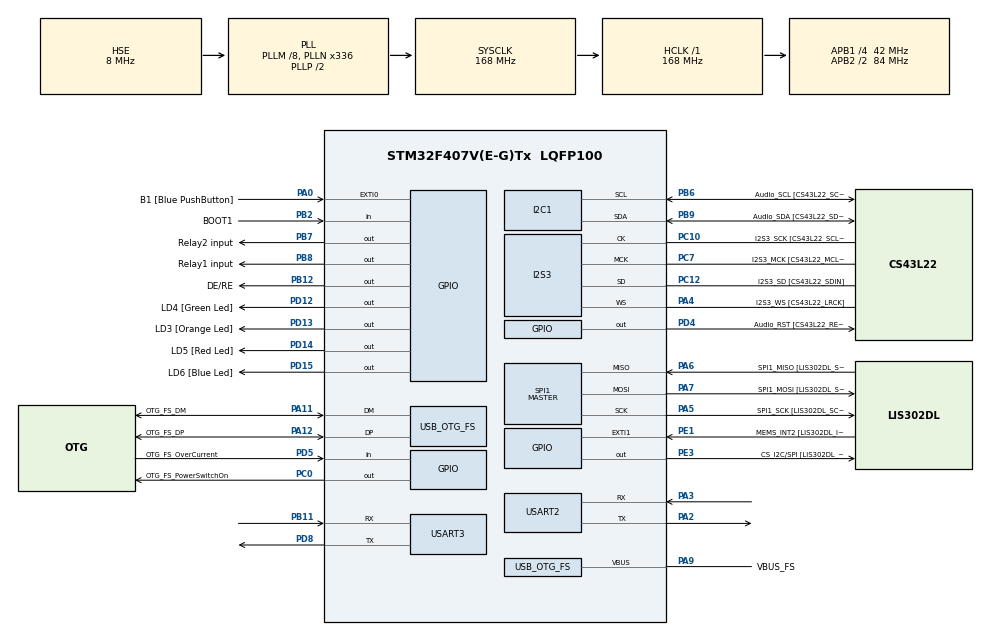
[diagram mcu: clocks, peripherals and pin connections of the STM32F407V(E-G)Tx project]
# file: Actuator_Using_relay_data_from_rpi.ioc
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I2S3.AudioFreq-Half_Duplex_Master=I2S_AUDIOFREQ_96K
I2S3.ErrorAudioFreq=-2.34 %
I2S3.ErrorAudioFreq-Half_Duplex_Master=0.8 %
I2S3.FullDuplexMode=I2S_FULLDUPLEXMODE_DISABLE
I2S3.Instance=SPI$Index
I2S3.RealAudioFreq=93.75 KHz
I2S3.RealAudioFreq-Half_Duplex_Master=96.774 KHz
I2S3.VirtualMode=I2S_MODE_MASTER
Mcu.Family=STM32F4
Mcu.Name=STM32F407V(E-G)Tx
Mcu.Package=LQFP100
NVIC.OTG_FS_IRQn=true\:0\:0\:false\:false\:true\:true\:true\:true
NVIC.PriorityGroup=NVIC_PRIORITYGROUP_0
PA0-WKUP.GPIO_Label=B1 [Blue PushButton]
PA0-WKUP.GPIO_ModeDefaultEXTI=GPIO_MODE_EVT_RISING
PA0-WKUP.GPIO_PuPd=GPIO_NOPULL
PA0-WKUP.Signal=GPXTI0
PA10.GPIO_Label=OTG_FS_ID
PA10.GPIO_Mode=GPIO_MODE_AF_PP
PA10.GPIO_PuPd=GPIO_NOPULL
PA10.GPIO_Speed=GPIO_SPEED_FREQ_LOW
PA10.Signal=USB_OTG_FS_ID
PA11.GPIO_Label=OTG_FS_DM
PA11.GPIO_Mode=GPIO_MODE_AF_PP
PA11.GPIO_PuPd=GPIO_NOPULL
PA11.GPIO_Speed=GPIO_SPEED_FREQ_LOW
PA11.Mode=Host_Only
PA11.Signal=USB_OTG_FS_DM
PA12.GPIO_Label=OTG_FS_DP
PA12.GPIO_Mode=GPIO_MODE_AF_PP
PA12.GPIO_PuPd=GPIO_NOPULL
PA12.GPIO_Speed=GPIO_SPEED_FREQ_LOW
PA12.Mode=Host_Only
PA12.Signal=USB_OTG_FS_DP
PA13.GPIO_Label=SWDIO
PA13.Mode=Serial_Wire
PA13.Signal=SYS_JTMS-SWDIO
PA14.GPIO_Label=SWCLK
PA14.Mode=Serial_Wire
PA14.Signal=SYS_JTCK-SWCLK
PA2.Mode=Asynchronous
PA2.Signal=USART2_TX
PA3.Mode=Asynchronous
PA3.Signal=USART2_RX
PA4.GPIO_Label=I2S3_WS [CS43L22_LRCK]
PA4.GPIO_Mode=GPIO_MODE_AF_PP
PA4.GPIO_PuPd=GPIO_NOPULL
PA4.GPIO_Speed=GPIO_SPEED_FREQ_LOW
PA4.Mode=Half_Duplex_Master
PA4.Signal=I2S3_WS
PA5.GPIO_Label=SPI1_SCK [LIS302DL_SCL/SPC]
PA5.GPIO_Mode=GPIO_MODE_AF_PP
PA5.GPIO_PuPd=GPIO_NOPULL
PA5.GPIO_Speed=GPIO_SPEED_FREQ_LOW
PA5.Mode=Full_Duplex_Master
PA5.Signal=SPI1_SCK
PA6.GPIO_Label=SPI1_MISO [LIS302DL_SDO]
PA6.GPIO_Mode=GPIO_MODE_AF_PP
PA6.GPIO_PuPd=GPIO_NOPULL
PA6.GPIO_Speed=GPIO_SPEED_FREQ_LOW
PA6.Mode=Full_Duplex_Master
PA6.Signal=SPI1_MISO
PA7.GPIO_Label=SPI1_MOSI [LIS302DL_SDA/SDI/SDO]
PA7.GPIO_Mode=GPIO_MODE_AF_PP
PA7.GPIO_PuPd=GPIO_NOPULL
PA7.GPIO_Speed=GPIO_SPEED_FREQ_LOW
PA7.Mode=Full_Duplex_Master
PA7.Signal=SPI1_MOSI
PA9.GPIO_Label=VBUS_FS
PA9.GPIO_Mode=GPIO_MODE_INPUT
PA9.GPIO_PuPd=GPIO_NOPULL
PA9.Mode=Activate_VBUS
PA9.Signal=USB_OTG_FS_VBUS
PB10.GPIO_Label=CLK_IN [MP45DT02_CLK]
PB10.GPIO_Mode=GPIO_MODE_AF_PP
PB10.GPIO_PuPd=GPIO_NOPULL
PB10.GPIO_Speed=GPIO_SPEED_FREQ_LOW
PB10.Signal=I2S2_CK
PB11.Mode=Asynchronous
PB11.Signal=USART3_RX
PB12.GPIO_Label=DE/RE
PB12.Signal=GPIO_Output
PB2.GPIO_Label=BOOT1
PB2.GPIO_Mode=GPIO_MODE_INPUT
PB2.GPIO_PuPd=GPIO_NOPULL
PB2.Signal=GPIO_Input
PB3.GPIO_Label=SWO
PB3.Signal=SYS_JTDO-SWO
PB6.GPIO_Label=Audio_SCL [CS43L22_SCL]
PB6.GPIO_Mode=GPIO_MODE_AF_OD
PB6.GPIO_Pu=GPIO_PULLUP
PB6.GPIO_PuPd=GPIO_NOPULL
PB6.GPIO_Speed=GPIO_SPEED_FREQ_LOW
PB6.Mode=I2C
PB6.Signal=I2C1_SCL
PB7.GPIO_Label=Relay2 input
PB7.Signal=GPIO_Output
PB8.GPIO_Label=Relay1 input
PB8.Signal=GPIO_Output
PB9.GPIO_Label=Audio_SDA [CS43L22_SDA]
PB9.GPIO_Mode=GPIO_MODE_AF_OD
PB9.GPIO_Pu=GPIO_PULLUP
PB9.GPIO_PuPd=GPIO_NOPULL
PB9.GPIO_Speed=GPIO_SPEED_FREQ_LOW
PB9.Mode=I2C
PB9.Signal=I2C1_SDA
PC0.GPIO_Label=OTG_FS_PowerSwitchOn
PC0.GPIO_PuPd=GPIO_NOPULL
PC0.GPIO_Speed=GPIO_SPEED_FREQ_LOW
PC0.PinState=GPIO_PIN_SET
PC0.Signal=GPIO_Output
PC10.GPIO_Label=I2S3_SCK [CS43L22_SCLK]
PC10.GPIO_Mode=GPIO_MODE_AF_PP
PC10.GPIO_PuPd=GPIO_NOPULL
PC10.GPIO_Speed=GPIO_SPEED_FREQ_LOW
PC10.Mode=Half_Duplex_Master
PC10.Signal=I2S3_CK
PC12.GPIO_Label=I2S3_SD [CS43L22_SDIN]
PC12.GPIO_Mode=GPIO_MODE_AF_PP
PC12.GPIO_PuPd=GPIO_NOPULL
PC12.GPIO_Speed=GPIO_SPEED_FREQ_LOW
PC12.Mode=Half_Duplex_Master
PC12.Signal=I2S3_SD
PC14-OSC32_IN.GPIO_Label=PC14-OSC32_IN
PC14-OSC32_IN.Mode=LSE-External-Oscillator
PC14-OSC32_IN.Signal=RCC_OSC32_IN
PC15-OSC32_OUT.GPIO_Label=PC15-OSC32_OUT
PC15-OSC32_OUT.Mode=LSE-External-Oscillator
PC15-OSC32_OUT.Signal=RCC_OSC32_OUT
PC3.GPIO_Label=PDM_OUT [MP45DT02_DOUT]
PC3.GPIO_Mode=GPIO_MODE_AF_PP
PC3.GPIO_PuPd=GPIO_NOPULL
PC3.GPIO_Speed=GPIO_SPEED_FREQ_LOW
PC3.Signal=I2S2_SD
PC7.GPIO_Label=I2S3_MCK [CS43L22_MCLK]
PC7.GPIO_Mode=GPIO_MODE_AF_PP
PC7.GPIO_PuPd=GPIO_NOPULL
PC7.GPIO_Speed=GPIO_SPEED_FREQ_LOW
PC7.Mode=Master_Clock_Activated
PC7.Signal=I2S3_MCK
PD12.GPIO_Label=LD4 [Green Led]
PD12.GPIO_PuPd=GPIO_NOPULL
PD12.GPIO_Speed=GPIO_SPEED_FREQ_LOW
PD12.Signal=GPIO_Output
PD13.GPIO_Label=LD3 [Orange Led]
PD13.GPIO_PuPd=GPIO_NOPULL
PD13.GPIO_Speed=GPIO_SPEED_FREQ_LOW
PD13.Signal=GPIO_Output
PD14.GPIO_Label=LD5 [Red Led]
PD14.GPIO_PuPd=GPIO_NOPULL
PD14.GPIO_Speed=GPIO_SPEED_FREQ_LOW
PD14.Signal=GPIO_Output
PD15.GPIO_Label=LD6 [Blue Led]
PD15.GPIO_PuPd=GPIO_NOPULL
PD15.GPIO_Speed=GPIO_SPEED_FREQ_LOW
PD15.Signal=GPIO_Output
PD4.GPIO_Label=Audio_RST [CS43L22_RESET]
PD4.GPIO_PuPd=GPIO_NOPULL
PD4.GPIO_Speed=GPIO_SPEED_FREQ_LOW
PD4.Signal=GPIO_Output
PD5.GPIO_Label=OTG_FS_OverCurrent
PD5.GPIO_Mode=GPIO_MODE_INPUT
PD5.GPIO_PuPd=GPIO_NOPULL
PD5.Signal=GPIO_Input
PD8.Mode=Asynchronous
PD8.Signal=USART3_TX
PE1.GPIO_Label=MEMS_INT2 [LIS302DL_INT2]
PE1.GPIO_ModeDefaultEXTI=GPIO_MODE_EVT_RISING
PE1.GPIO_PuPd=GPIO_NOPULL
PE1.Signal=GPXTI1
PE3.GPIO_Label=CS_I2C/SPI [LIS302DL_CS_I2C/SPI]
PE3.GPIO_PuPd=GPIO_NOPULL
PE3.GPIO_Speed=GPIO_SPEED_FREQ_LOW
PE3.Signal=GPIO_Output
PH0-OSC_IN.GPIO_Label=PH0-OSC_IN
PH0-OSC_IN.Mode=HSE-External-Oscillator
PH0-OSC_IN.Signal=RCC_OSC_IN
PH1-OSC_OUT.GPIO_Label=PH1-OSC_OUT
PH1-OSC_OUT.Mode=HSE-External-Oscillator
PH1-OSC_OUT.Signal=RCC_OSC_OUT
ProjectManager.HeapSize=0x200
ProjectManager.StackSize=0x400
ProjectManager.TargetToolchain=STM32CubeIDE
RCC.48MHZClocksFreq_Value=48000000
RCC.AHBFreq_Value=168000000
RCC.APB1CLKDivider=RCC_HCLK_DIV4
RCC.APB1Freq_Value=42000000
RCC.APB1TimFreq_Value=84000000
RCC.APB2CLKDivider=RCC_HCLK_DIV2
RCC.APB2Freq_Value=84000000
RCC.APB2TimFreq_Value=168000000
RCC.CortexFreq_Value=168000000
RCC.HCLKFreq_Value=168000000
RCC.HSE_VALUE=8000000
RCC.HSI_VALUE=16000000
RCC.PLLM=8
RCC.PLLN=336
RCC.PLLQ=7
RCC.SYSCLKFreq_VALUE=168000000
RCC.SYSCLKSource=RCC_SYSCLKSOURCE_PLLCLK
RCC.VCOOutputFreq_Value=336000000
SPI1.BaudRatePrescaler-Full_Duplex_Master=SPI_BAUDRATEPRESCALER_2
SPI1.CalculateBaudRate-Full_Duplex_Master=42.0 MBits/s
SPI1.Direction=SPI_DIRECTION_2LINES
SPI1.Mode=SPI_MODE_MASTER
SPI1.Mode-Full_Duplex_Master=SPI_MODE_MASTER
SPI1.VirtualType=VM_MASTER
USART2.VirtualMode=VM_ASYNC
USART3.VirtualMode=VM_ASYNC
USB_HOST.BSP.number=1
USB_HOST.USBH_HandleTypeDef-CDC_FS=hUsbHostFS
USB_HOST.VirtualModeFS=Cdc
USB_HOST0.BSP.STBoard=false
USB_HOST0.BSP.api=Unknown
USB_HOST0.BSP.instance=PC0
USB_HOST0.BSP.ip=GPIO
USB_HOST0.BSP.mode=Output
USB_HOST0.BSP.name=Drive_VBUS_FS
USB_HOST0.BSP.solution=PC0
USB_OTG_FS.VirtualMode=Host_Only
USB_OTG_FS.phy_itface=HCD_PHY_EMBEDDED
VP_USB_HOST_VS_USB_HOST_CDC_FS.Mode=CDC_FS
board=STM32F407G-DISC1

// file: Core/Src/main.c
/* USER CODE BEGIN Header */

/**

  ******************************************************************************

  * @file           : main.c

  * @brief          : Main program body

  ******************************************************************************

  * @attention

  *

  * Copyright (c) 2026 STMicroelectronics.

  * All rights reserved.

  *

  * This software is licensed under terms that can be found in the LICENSE file

  * in the root directory of this software component.

  * If no LICENSE file comes with this software, it is provided AS-IS.

  *

  ******************************************************************************

  */

/* USER CODE END Header */
#include "main.h"
#include "usb_host.h"

/* USER CODE BEGIN Includes */
#include<stdio.h>
#include<string.h>
#include<stdlib.h>
/* USER CODE END Includes */

/* USER CODE BEGIN PD */

#define RELAY_ON  GPIO_PIN_RESET   // Active LOW relay
#define RELAY_OFF GPIO_PIN_SET
/* USER CODE END PD */

I2C_HandleTypeDef hi2c1;

I2S_HandleTypeDef hi2s3;

SPI_HandleTypeDef hspi1;

UART_HandleTypeDef huart2;
UART_HandleTypeDef huart3;
char log_buf[50];

/* USER CODE BEGIN PV */
uint8_t rx_buffer[2];
uint8_t temp;
uint8_t triggered = 0;

/* USER CODE END PV */

void SystemClock_Config(void);
static void MX_GPIO_Init(void);
static void MX_I2C1_Init(void);
static void MX_I2S3_Init(void);
static void MX_SPI1_Init(void);
static void MX_USART2_UART_Init(void);
static void MX_USART3_UART_Init(void);
void MX_USB_HOST_Process(void);

int main(void)
{

  /* MCU Configuration--------------------------------------------------------*/

  /* Reset of all peripherals, Initializes the Flash interface and the Systick. */
  HAL_Init();

  /* Configure the system clock */
  SystemClock_Config();

  /* Initialize all configured peripherals */
  MX_GPIO_Init();
  MX_I2C1_Init();
  MX_I2S3_Init();
  MX_SPI1_Init();
  MX_USB_HOST_Init();
  MX_USART2_UART_Init();
  MX_USART3_UART_Init();
  /* USER CODE BEGIN 2 */

  sprintf(log_buf, "System Started\r\n");
  HAL_UART_Transmit(&huart2, (uint8_t*)log_buf, strlen(log_buf), 100);
  HAL_GPIO_WritePin(GPIOB, DE_RE_Pin, GPIO_PIN_RESET);

  // Initial state → CLOSED

  HAL_GPIO_WritePin(GPIOB, Relay1_input_Pin, RELAY_OFF);
  HAL_GPIO_WritePin(GPIOB, Relay2_input_Pin, RELAY_ON);

  /* USER CODE END 2 */

  /* Infinite loop */
  while (1)
  {
    MX_USB_HOST_Process();

    /* USER CODE BEGIN 3 */
    if (HAL_UART_Receive(&huart3, rx_buffer, 2, 1000) == HAL_OK)
    {
        // Check packet header
        if (rx_buffer[0] == 0xAA)
        {
            temp = rx_buffer[1];

            sprintf(log_buf, "Received Temp: %d\r\n", temp);
            HAL_UART_Transmit(&huart2,
                              (uint8_t*)log_buf,
                              strlen(log_buf),
                              100);

            // ---------- ACTUATOR CONTROL ----------
            if (temp > 30)
            {
                // OPEN actuator
                HAL_GPIO_WritePin(GPIOB,
                                  Relay1_input_Pin,
                                  RELAY_ON);

                HAL_GPIO_WritePin(GPIOB,
                                  Relay2_input_Pin,
                                  RELAY_OFF);

                sprintf(log_buf, "ACTUATOR OPEN\r\n");
            }
            else
            {
                // CLOSE actuator
                HAL_GPIO_WritePin(GPIOB,
                                  Relay1_input_Pin,
                                  RELAY_OFF);

                HAL_GPIO_WritePin(GPIOB,
                                  Relay2_input_Pin,
                                  RELAY_ON);

                sprintf(log_buf, "ACTUATOR CLOSE\r\n");
            }

            HAL_UART_Transmit(&huart2,
                              (uint8_t*)log_buf,
                              strlen(log_buf),
                              100);
        }
        else
        {
            sprintf(log_buf, "Invalid Header\r\n");
            HAL_UART_Transmit(&huart2,
                              (uint8_t*)log_buf,
                              strlen(log_buf),
                              100);
        }
    }
    else
    {
        sprintf(log_buf, "No UART Data\r\n");
        HAL_UART_Transmit(&huart2,
                          (uint8_t*)log_buf,
                          strlen(log_buf),
                          100);
    }

    //HAL_Delay(5000);
  }

  /* USER CODE END 3 */
}

void SystemClock_Config(void)
{
  RCC_OscInitTypeDef RCC_OscInitStruct = {0};
  RCC_ClkInitTypeDef RCC_ClkInitStruct = {0};

  /** Configure the main internal regulator output voltage
  */
  __HAL_RCC_PWR_CLK_ENABLE();
  __HAL_PWR_VOLTAGESCALING_CONFIG(PWR_REGULATOR_VOLTAGE_SCALE1);

  /** Initializes the RCC Oscillators according to the specified parameters
  * in the RCC_OscInitTypeDef structure.
  */
  RCC_OscInitStruct.OscillatorType = RCC_OSCILLATORTYPE_HSE;
  RCC_OscInitStruct.HSEState = RCC_HSE_ON;
  RCC_OscInitStruct.PLL.PLLState = RCC_PLL_ON;
  RCC_OscInitStruct.PLL.PLLSource = RCC_PLLSOURCE_HSE;
  RCC_OscInitStruct.PLL.PLLM = 8;
  RCC_OscInitStruct.PLL.PLLN = 336;
  RCC_OscInitStruct.PLL.PLLP = RCC_PLLP_DIV2;
  RCC_OscInitStruct.PLL.PLLQ = 7;
  if (HAL_RCC_OscConfig(&RCC_OscInitStruct) != HAL_OK)
  {
    Error_Handler();
  }

  /** Initializes the CPU, AHB and APB buses clocks
  */
  RCC_ClkInitStruct.ClockType = RCC_CLOCKTYPE_HCLK|RCC_CLOCKTYPE_SYSCLK
                              |RCC_CLOCKTYPE_PCLK1|RCC_CLOCKTYPE_PCLK2;
  RCC_ClkInitStruct.SYSCLKSource = RCC_SYSCLKSOURCE_PLLCLK;
  RCC_ClkInitStruct.AHBCLKDivider = RCC_SYSCLK_DIV1;
  RCC_ClkInitStruct.APB1CLKDivider = RCC_HCLK_DIV4;
  RCC_ClkInitStruct.APB2CLKDivider = RCC_HCLK_DIV2;

  if (HAL_RCC_ClockConfig(&RCC_ClkInitStruct, FLASH_LATENCY_5) != HAL_OK)
  {
    Error_Handler();
  }
}

static void MX_I2C1_Init(void)
{

  hi2c1.Instance = I2C1;
  hi2c1.Init.ClockSpeed = 100000;
  hi2c1.Init.DutyCycle = I2C_DUTYCYCLE_2;
  hi2c1.Init.OwnAddress1 = 0;
  hi2c1.Init.AddressingMode = I2C_ADDRESSINGMODE_7BIT;
  hi2c1.Init.DualAddressMode = I2C_DUALADDRESS_DISABLE;
  hi2c1.Init.OwnAddress2 = 0;
  hi2c1.Init.GeneralCallMode = I2C_GENERALCALL_DISABLE;
  hi2c1.Init.NoStretchMode = I2C_NOSTRETCH_DISABLE;
  if (HAL_I2C_Init(&hi2c1) != HAL_OK)
  {
    Error_Handler();
  }

}

static void MX_I2S3_Init(void)
{

  hi2s3.Instance = SPI3;
  hi2s3.Init.Mode = I2S_MODE_MASTER_TX;
  hi2s3.Init.Standard = I2S_STANDARD_PHILIPS;
  hi2s3.Init.DataFormat = I2S_DATAFORMAT_16B;
  hi2s3.Init.MCLKOutput = I2S_MCLKOUTPUT_ENABLE;
  hi2s3.Init.AudioFreq = I2S_AUDIOFREQ_96K;
  hi2s3.Init.CPOL = I2S_CPOL_LOW;
  hi2s3.Init.ClockSource = I2S_CLOCK_PLL;
  hi2s3.Init.FullDuplexMode = I2S_FULLDUPLEXMODE_DISABLE;
  if (HAL_I2S_Init(&hi2s3) != HAL_OK)
  {
    Error_Handler();
  }

}

static void MX_SPI1_Init(void)
{

  /* SPI1 parameter configuration*/
  hspi1.Instance = SPI1;
  hspi1.Init.Mode = SPI_MODE_MASTER;
  hspi1.Init.Direction = SPI_DIRECTION_2LINES;
  hspi1.Init.DataSize = SPI_DATASIZE_8BIT;
  hspi1.Init.CLKPolarity = SPI_POLARITY_LOW;
  hspi1.Init.CLKPhase = SPI_PHASE_1EDGE;
  hspi1.Init.NSS = SPI_NSS_SOFT;
  hspi1.Init.BaudRatePrescaler = SPI_BAUDRATEPRESCALER_2;
  hspi1.Init.FirstBit = SPI_FIRSTBIT_MSB;
  hspi1.Init.TIMode = SPI_TIMODE_DISABLE;
  hspi1.Init.CRCCalculation = SPI_CRCCALCULATION_DISABLE;
  hspi1.Init.CRCPolynomial = 10;
  if (HAL_SPI_Init(&hspi1) != HAL_OK)
  {
    Error_Handler();
  }

}

static void MX_USART2_UART_Init(void)
{

  huart2.Instance = USART2;
  huart2.Init.BaudRate = 115200;
  huart2.Init.WordLength = UART_WORDLENGTH_8B;
  huart2.Init.StopBits = UART_STOPBITS_1;
  huart2.Init.Parity = UART_PARITY_NONE;
  huart2.Init.Mode = UART_MODE_TX_RX;
  huart2.Init.HwFlowCtl = UART_HWCONTROL_NONE;
  huart2.Init.OverSampling = UART_OVERSAMPLING_16;
  if (HAL_UART_Init(&huart2) != HAL_OK)
  {
    Error_Handler();
  }

}

static void MX_USART3_UART_Init(void)
{

  huart3.Instance = USART3;
  huart3.Init.BaudRate = 115200;
  huart3.Init.WordLength = UART_WORDLENGTH_8B;
  huart3.Init.StopBits = UART_STOPBITS_1;
  huart3.Init.Parity = UART_PARITY_NONE;
  huart3.Init.Mode = UART_MODE_TX_RX;
  huart3.Init.HwFlowCtl = UART_HWCONTROL_NONE;
  huart3.Init.OverSampling = UART_OVERSAMPLING_16;
  if (HAL_UART_Init(&huart3) != HAL_OK)
  {
    Error_Handler();
  }

}

static void MX_GPIO_Init(void)
{
  GPIO_InitTypeDef GPIO_InitStruct = {0};

  /* GPIO Ports Clock Enable */
  __HAL_RCC_GPIOE_CLK_ENABLE();
  __HAL_RCC_GPIOC_CLK_ENABLE();
  __HAL_RCC_GPIOH_CLK_ENABLE();
  __HAL_RCC_GPIOA_CLK_ENABLE();
  __HAL_RCC_GPIOB_CLK_ENABLE();
  __HAL_RCC_GPIOD_CLK_ENABLE();

  /*Configure GPIO pin Output Level */
  HAL_GPIO_WritePin(CS_I2C_SPI_GPIO_Port, CS_I2C_SPI_Pin, GPIO_PIN_RESET);

  /*Configure GPIO pin Output Level */
  HAL_GPIO_WritePin(OTG_FS_PowerSwitchOn_GPIO_Port, OTG_FS_PowerSwitchOn_Pin, GPIO_PIN_SET);

  /*Configure GPIO pin Output Level */
  HAL_GPIO_WritePin(GPIOB, DE_RE_Pin|Relay2_input_Pin|Relay1_input_Pin, GPIO_PIN_RESET);

  /*Configure GPIO pin Output Level */
  HAL_GPIO_WritePin(GPIOD, LD4_Pin|LD3_Pin|LD5_Pin|LD6_Pin
                          |Audio_RST_Pin, GPIO_PIN_RESET);

  /*Configure GPIO pin : CS_I2C_SPI_Pin */
  GPIO_InitStruct.Pin = CS_I2C_SPI_Pin;
  GPIO_InitStruct.Mode = GPIO_MODE_OUTPUT_PP;
  GPIO_InitStruct.Pull = GPIO_NOPULL;
  GPIO_InitStruct.Speed = GPIO_SPEED_FREQ_LOW;
  HAL_GPIO_Init(CS_I2C_SPI_GPIO_Port, &GPIO_InitStruct);

  /*Configure GPIO pin : OTG_FS_PowerSwitchOn_Pin */
  GPIO_InitStruct.Pin = OTG_FS_PowerSwitchOn_Pin;
  GPIO_InitStruct.Mode = GPIO_MODE_OUTPUT_PP;
  GPIO_InitStruct.Pull = GPIO_NOPULL;
  GPIO_InitStruct.Speed = GPIO_SPEED_FREQ_LOW;
  HAL_GPIO_Init(OTG_FS_PowerSwitchOn_GPIO_Port, &GPIO_InitStruct);

  /*Configure GPIO pin : PDM_OUT_Pin */
  GPIO_InitStruct.Pin = PDM_OUT_Pin;
  GPIO_InitStruct.Mode = GPIO_MODE_AF_PP;
  GPIO_InitStruct.Pull = GPIO_NOPULL;
  GPIO_InitStruct.Speed = GPIO_SPEED_FREQ_LOW;
  GPIO_InitStruct.Alternate = GPIO_AF5_SPI2;
  HAL_GPIO_Init(PDM_OUT_GPIO_Port, &GPIO_InitStruct);

  /*Configure GPIO pin : B1_Pin */
  GPIO_InitStruct.Pin = B1_Pin;
  GPIO_InitStruct.Mode = GPIO_MODE_EVT_RISING;
  GPIO_InitStruct.Pull = GPIO_NOPULL;
  HAL_GPIO_Init(B1_GPIO_Port, &GPIO_InitStruct);

  /*Configure GPIO pin : BOOT1_Pin */
  GPIO_InitStruct.Pin = BOOT1_Pin;
  GPIO_InitStruct.Mode = GPIO_MODE_INPUT;
  GPIO_InitStruct.Pull = GPIO_NOPULL;
  HAL_GPIO_Init(BOOT1_GPIO_Port, &GPIO_InitStruct);

  /*Configure GPIO pin : CLK_IN_Pin */
  GPIO_InitStruct.Pin = CLK_IN_Pin;
  GPIO_InitStruct.Mode = GPIO_MODE_AF_PP;
  GPIO_InitStruct.Pull = GPIO_NOPULL;
  GPIO_InitStruct.Speed = GPIO_SPEED_FREQ_LOW;
  GPIO_InitStruct.Alternate = GPIO_AF5_SPI2;
  HAL_GPIO_Init(CLK_IN_GPIO_Port, &GPIO_InitStruct);

  /*Configure GPIO pins : DE_RE_Pin Relay2_input_Pin Relay1_input_Pin */
  GPIO_InitStruct.Pin = DE_RE_Pin|Relay2_input_Pin|Relay1_input_Pin;
  GPIO_InitStruct.Mode = GPIO_MODE_OUTPUT_PP;
  GPIO_InitStruct.Pull = GPIO_NOPULL;
  GPIO_InitStruct.Speed = GPIO_SPEED_FREQ_LOW;
  HAL_GPIO_Init(GPIOB, &GPIO_InitStruct);

  /*Configure GPIO pins : LD4_Pin LD3_Pin LD5_Pin LD6_Pin
                           Audio_RST_Pin */
  GPIO_InitStruct.Pin = LD4_Pin|LD3_Pin|LD5_Pin|LD6_Pin
                          |Audio_RST_Pin;
  GPIO_InitStruct.Mode = GPIO_MODE_OUTPUT_PP;
  GPIO_InitStruct.Pull = GPIO_NOPULL;
  GPIO_InitStruct.Speed = GPIO_SPEED_FREQ_LOW;
  HAL_GPIO_Init(GPIOD, &GPIO_InitStruct);

  /*Configure GPIO pin : OTG_FS_OverCurrent_Pin */
  GPIO_InitStruct.Pin = OTG_FS_OverCurrent_Pin;
  GPIO_InitStruct.Mode = GPIO_MODE_INPUT;
  GPIO_InitStruct.Pull = GPIO_NOPULL;
  HAL_GPIO_Init(OTG_FS_OverCurrent_GPIO_Port, &GPIO_InitStruct);

  /*Configure GPIO pin : MEMS_INT2_Pin */
  GPIO_InitStruct.Pin = MEMS_INT2_Pin;
  GPIO_InitStruct.Mode = GPIO_MODE_EVT_RISING;
  GPIO_InitStruct.Pull = GPIO_NOPULL;
  HAL_GPIO_Init(MEMS_INT2_GPIO_Port, &GPIO_InitStruct);

}

void Error_Handler(void)
{
  __disable_irq();
  while (1)
  {
  }
}
